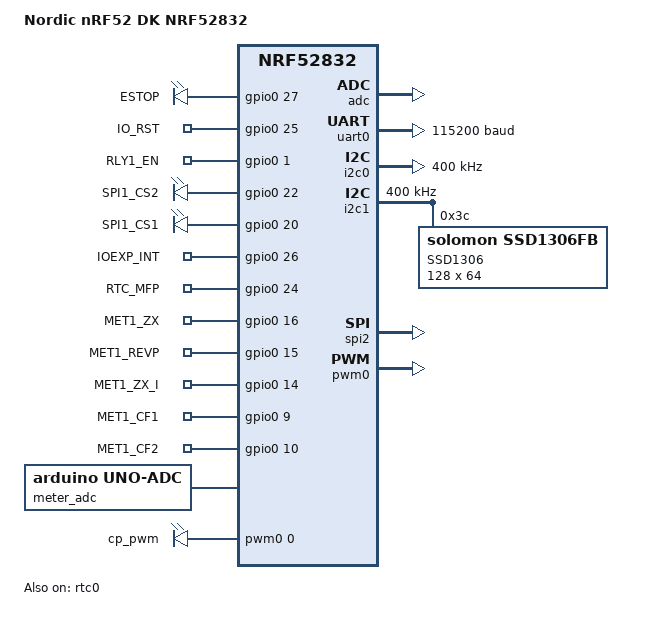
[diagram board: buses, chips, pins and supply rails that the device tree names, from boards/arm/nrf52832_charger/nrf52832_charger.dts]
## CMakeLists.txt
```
# SPDX-License-Identifier: Apache-2.0

cmake_minimum_required(VERSION 3.20.0)
# Re-direct the directory where the 'boards' directory is found from
# $ZEPHYR_BASE to this directory.
set(BOARD_ROOT ${CMAKE_CURRENT_LIST_DIR})

# This sample is only compatible with nrf52840dk_nrf52840 because it has
# re-directed the 'boards' directory to a directory that only contains
# this board.
set(BOARD nrf52832_charger)

find_package(Zephyr REQUIRED HINTS $ENV{ZEPHYR_BASE})
project(EVCharger)

FILE(GLOB app_sources src/*.c)
target_sources(app PRIVATE ${app_sources})
target_sources(app PRIVATE components/gpio_config/gpio_config.c)
target_sources(app PRIVATE components/adc_services/adc_service.c)
target_sources(app PRIVATE components/i2c_services/i2c_service.c)
target_sources(app PRIVATE components/ioExp_mcp23s17/ioExp_mcp23s17.c)
target_sources(app PRIVATE components/general/general.c)
target_sources(app PRIVATE components/oled_ssd1306/ssd1306.c)
target_sources(app PRIVATE components/oled_ssd1306/font5x7.c)
target_sources(app PRIVATE components/oled_ssd1306/font8x8.c)
target_sources(app PRIVATE components/oled_ssd1306/font10x16.c)
target_sources(app PRIVATE components/oled_ssd1306/font15x24.c)
target_sources(app PRIVATE components/oled_ssd1306/font20x32.c)
target_sources(app PRIVATE components/rc522/rc522.c)


target_sources(app PRIVATE components/app_db/app_db.c)
target_sources(app PRIVATE components/app_schedule/app_schedule.c)
target_sources(app PRIVATE components/app_timer/app_timer.c)
target_sources(app PRIVATE components/led_handler/led_handler.c)

target_sources(app PRIVATE components/app_UI/app_UI.c)
target_sources(app PRIVATE components/app_UI/json_parser.c)
target_sources(app PRIVATE components/rtc_mcp79400/external_rtc.c)
target_sources(app PRIVATE components/rtc_mcp79400/rtc_utility.c)
target_sources(app PRIVATE components/rtc_mcp79400/gw_rtc.c)
target_sources(app PRIVATE components/temp_reading/temp.c)

target_sources(app PRIVATE components/cp_pwm/cp_pwm.c)
target_sources(app PRIVATE components/cp_pwm/pwm_handler.c)
target_sources(app PRIVATE components/eeprom_m24m02/eeprom_m24m02.c)
target_sources(app PRIVATE components/volt_curr_monitor/volt_curr_monitor.c)


target_include_directories(app PRIVATE ./)
```

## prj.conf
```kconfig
# enable GPIO
CONFIG_GPIO=y

# enable I2C
CONFIG_I2C=y

# enable ADC
CONFIG_ADC=y
CONFIG_NRFX_SAADC=y
CONFIG_ADC_ASYNC=y
CONFIG_DMA=y
# enable PWM
CONFIG_PWM=y

#enable SPI
CONFIG_SPI=y

# enable uart driver
CONFIG_SERIAL=y

#for off the crystal in custom Board
CONFIG_CLOCK_CONTROL_NRF_K32SRC_RC=y

#for OLED
CONFIG_DISPLAY=y
# CONFIG_SSD1306=y //for SSD1306 Only
CONFIG_CFB_LOG_LEVEL_DBG=y
CONFIG_CHARACTER_FRAMEBUFFER=y

CONFIG_SSD1306_SH1106_COMPATIBLE=y

CONFIG_COUNTER=y
#CONFIG_NRFX_TIMER0=y
CONFIG_RTC=y
#CONFIG_COUNTER_NRF_RTC = y
#Reverse colors:
CONFIG_SSD1306_REVERSE_MODE=y

CONFIG_HEAP_MEM_POOL_SIZE=16384
CONFIG_ASSERT=y

#JSON
CONFIG_CJSON_LIB=y
CONFIG_NEWLIB_LIBC=y
CONFIG_NEWLIB_LIBC_FLOAT_PRINTF=y

#LOG
CONFIG_LOG=y
CONFIG_CBPRINTF_FP_A_SUPPORT=y
CONFIG_LOG_BACKEND_UART=y
CONFIG_LOG_BACKEND_RTT=n
CONFIG_LOG_PRINTK=y
CONFIG_LOG_BUFFER_SIZE=1024
CONFIG_LOG_BACKEND_FORMAT_TIMESTAMP=n

#Added for ram optimizztion
# CONFIG_MAIN_STACK_SIZE=640
# CONFIG_IDLE_STACK_SIZE=128
# CONFIG_ISR_STACK_SIZE=1024
#CONFIG_SDC_RX_STACK_SIZE=324
#CONFIG_BT_RX_STACK_SIZE=1024
#CONFIG_BT_HCI_TX_STACK_SIZE_WITH_PROMPT=y
#CONFIG_BT_HCI_TX_STACK_SIZE=640
#CONFIG_SYSTEM_WORKQUEUE_STACK_SIZE=256
#CONFIG_MPSL_SIGNAL_STACK_SIZE=256
#CONFIG_BT_NUS_THREAD_STACK_SIZE=512

#Added for RAM optimizztion test
#delete this once final
CONFIG_THREAD_NAME=y
CONFIG_THREAD_ANALYZER=y
CONFIG_THREAD_ANALYZER_AUTO=y
CONFIG_THREAD_ANALYZER_RUN_UNLOCKED=y
CONFIG_THREAD_ANALYZER_USE_PRINTK=y
```

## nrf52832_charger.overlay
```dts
// To get started, press Ctrl+Space to bring up the completion menu and view the available nodes.

// You can also use the buttons in the sidebar to perform actions on nodes.
// Actions currently available include:

// * Enabling / disabling the node
// * Adding the bus to a bus
// * Removing the node
// * Connecting ADC channels

// For more help, browse the DeviceTree documentation at https://docs.zephyrproject.org/latest/guides/dts/index.html
// You can also visit the nRF DeviceTree extension documentation at https://nrfconnect.github.io/vscode-nrf-connect/devicetree/nrfdevicetree.html
 
/ {
	io_rst: io_rst {
		compatible = "output";
                /* using built-in LED pin for demonstration */
		gpios = <&gpio0 25 GPIO_ACTIVE_HIGH>;
	};
	rly1_en: rly1_en {
		compatible = "output";
                /* using built-in LED pin for demonstration */
		gpios = <&gpio0 1 GPIO_ACTIVE_HIGH>;
	};
	spi1_cs1: spi1_cs1 {
		compatible = "output";
                /* using built-in LED pin for demonstration */
		gpios = <&gpio0 20 GPIO_ACTIVE_HIGH>;
	};
	spi1_cs2: spi1_cs2 {
		compatible = "output";
                /* using built-in LED pin for demonstration */
		gpios = <&gpio0 22 GPIO_ACTIVE_HIGH>;
	};

	estop: estop {
		compatible = "output";
                /* using built-in LED pin for demonstration */
		gpios = <&gpio0 27 GPIO_PUSH_PULL>;
	};
};
```

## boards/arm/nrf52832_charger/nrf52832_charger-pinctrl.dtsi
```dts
/*
 * Copyright (c) 2022 Nordic Semiconductor
 * SPDX-License-Identifier: Apache-2.0
 */

 &pinctrl {
	uart0_default: uart0_default {
		group1 {
			psels = <NRF_PSEL(UART_TX, 0, 13)>,
					<NRF_PSEL(UART_RX, 0, 12)>;
		};
	};

	uart0_sleep: uart0_sleep {
		group1 {
			psels = <NRF_PSEL(UART_TX, 0, 13)>,
					<NRF_PSEL(UART_RX, 0, 12)>;
		};
	};

	i2c0_default: i2c0_default {
		group1 {
			psels = <NRF_PSEL(TWIM_SDA, 0, 6)>,
				<NRF_PSEL(TWIM_SCL, 0, 7)>;
		};
	};

	i2c0_sleep: i2c0_sleep {
		group1 {
			psels = <NRF_PSEL(TWIM_SDA, 0, 6)>,
				<NRF_PSEL(TWIM_SCL, 0, 7)>;
		};
	};

	i2c1_default: i2c1_default {
		group1 {
			psels = <NRF_PSEL(TWIM_SDA, 0, 4)>,
				<NRF_PSEL(TWIM_SCL, 0, 5)>;
		};
	};

	i2c1_sleep: i2c1_sleep {
		group1 {
			psels = <NRF_PSEL(TWIM_SDA, 0, 4)>,
				<NRF_PSEL(TWIM_SCL, 0, 5)>;
		};
	};

	pwm0_default: pwm0_default {
		group1 {
			psels = <NRF_PSEL(PWM_OUT0, 0, 11)>;
			nordic,invert;
		};
	};

	pwm0_sleep: pwm0_sleep {
		group1 {
			psels = <NRF_PSEL(PWM_OUT0, 0, 11)>;
		};
	};
/* 
	spi0_default: spi0_default {
		group1 {
			psels = <NRF_PSEL(SPIM_SCK, 0, 17)>,
				<NRF_PSEL(SPIM_MOSI, 0, 19)>,
				<NRF_PSEL(SPIM_MISO, 0, 18)>;
		};
	};

	spi0_sleep: spi0_sleep {
		group1 {
			psels = <NRF_PSEL(SPIM_SCK, 0, 17)>,
				<NRF_PSEL(SPIM_MOSI, 0, 19)>,
				<NRF_PSEL(SPIM_MISO, 0, 18)>;
		};
	};

	spi1_default: spi1_default {
		group1 {
			psels = <NRF_PSEL(SPIM_SCK, 0, 17)>,
				<NRF_PSEL(SPIM_MOSI, 0, 19)>,
				<NRF_PSEL(SPIM_MISO, 0, 18)>;
		};
	};

	spi1_sleep: spi1_sleep {
		group1 {
			psels = <NRF_PSEL(SPIM_SCK, 0, 17)>,
				<NRF_PSEL(SPIM_MOSI, 0, 19)>,
				<NRF_PSEL(SPIM_MISO, 0, 18)>;
		};
	};
 */

	spi2_default: spi2_default {
		group1 {
			psels = <NRF_PSEL(SPIM_SCK, 0, 17)>,
				<NRF_PSEL(SPIM_MOSI, 0, 19)>,
				<NRF_PSEL(SPIM_MISO, 0, 18)>;
		};
	};

	spi2_sleep: spi2_sleep {
		group1 {
			psels = <NRF_PSEL(SPIM_SCK, 0, 17)>,
				<NRF_PSEL(SPIM_MOSI, 0, 19)>,
				<NRF_PSEL(SPIM_MISO, 0, 18)>;
		};
	};

};
```

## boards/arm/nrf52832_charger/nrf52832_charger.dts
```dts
/*
 * Copyright (c) 2017 Shawn Nock <shawn@monadnock.ca>
 * Copyright (c) 2017 Linaro Limited
 *
 * SPDX-License-Identifier: Apache-2.0
 */

 /dts-v1/;
 #include <nordic/nrf52832_qfaa.dtsi>
 #include "nrf52832_charger-pinctrl.dtsi"
 
 / {
	 model = "Nordic nRF52 DK NRF52832";
	 compatible = "nordic,nrf52-dk-nrf52832";
 
	 chosen {
		 zephyr,console = &uart0;
		 zephyr,shell-uart = &uart0;
		 zephyr,uart-mcumgr = &uart0;
		 zephyr,bt-mon-uart = &uart0;
		 zephyr,bt-c2h-uart = &uart0;
		 zephyr,sram = &sram0;
		 zephyr,flash = &flash0;
		 zephyr,code-partition = &slot0_partition;
	 };

	 
gpio_outputs {
	compatible = "gpio-leds";
	ESTOP: op_ESTOP {
		gpios = <&gpio0 27 GPIO_ACTIVE_HIGH>;
		label = "ESTOP";
	};
	IO_RST: op_IO_RST {
		gpios = <&gpio0 25 GPIO_ACTIVE_HIGH>;
		label = "IO_RST";
	};
	RLY1_EN: op_RLY1_EN {
		gpios = <&gpio0 1 GPIO_ACTIVE_HIGH>;
		label = "RLY1_EN";
	};
	SPI1_CS2: op_SPI1_CS2 {
		gpios = <&gpio0 22 GPIO_ACTIVE_HIGH>;
		label = "SPI1_CS2";
	};
	SPI1_CS1: op_SPI1_CS1 {
		gpios = <&gpio0 20 GPIO_ACTIVE_HIGH>;
		label = "SPI1_CS1";
	};
};
	
gpio_inputs {
	compatible = "gpio-keys";//need to change this
	IOEXP_INT: ip_IOEXP_INT {
		gpios = <&gpio0 26 0>;
		label = "IOEXP_INT";
	};
	RTC_MFP: ip_RTC_MFP {
		gpios = <&gpio0 24 0>;
		label = "RTC_MFP";
	};
	MET1_ZX: ip_MET1_ZX {
		gpios = <&gpio0 16 0>;
		label = "MET1_ZX";
	};
	MET1_REVP: ip_MET1_REVP {
		gpios = <&gpio0 15 0>;
		label = "MET1_REVP";
	};
	MET1_ZX_I: ip_MET1_ZX_I {
		gpios = <&gpio0 14 0>;
		label = "MET1_ZX_I";
	};

	MET1_CF1: ip_MET1_CF1 {
		gpios = <&gpio0 9 0>;
		label = "MET1_CF1";
	};

	MET1_CF2: ip_MET1_CF2 {
		gpios = <&gpio0 10 0>;
		label = "MET1_CF2";
	};
	};


	meter_adc: analog-connector {
		compatible = "arduino,uno-adc";
		#io-channel-cells = <1>;
		io-channel-map =
				 <1 &adc 0>,	/* A0 = P0.02 = AIN0 */
				 <2 &adc 1>,	/* A2 = P0.03 = AIN1 */
				 <3 &adc 4>,	/* A2 = P0.28 = AIN4 */
				 <4 &adc 5>,	/* A3 = P0.29 = AIN5 */
				 <5 &adc 6>,	/* A4 = P0.30 = AIN6 */
				 <6 &adc 7>;	/* A5 = P0.31 = AIN7 */
	};

	
pwmleds {
	compatible = "pwm-leds";
	cp_pwm: pwm_led_0 {
		pwms = <&pwm0 0 PWM_MSEC(20) PWM_POLARITY_NORMAL>;
	};
};

/* These aliases are provided for compatibility with samples */
aliases {
	cp-pwm = &cp_pwm;
};
 };
 
 &adc {
	 status = "okay";
 };
 
 &gpiote {
	 status = "okay";
 };
 
 &gpio0 {
	 status = "okay";
 };
 
 &uart0 {
	compatible = "nordic,nrf-uart";
	current-speed = <115200>;
	status = "okay";
	pinctrl-0 = <&uart0_default>;
	pinctrl-1 = <&uart0_sleep>;
	pinctrl-names = "default", "sleep";
};

common_i2c: &i2c0 {
	compatible = "nordic,nrf-twi";
	status = "okay";
	pinctrl-0 = <&i2c0_default>;
	pinctrl-1 = <&i2c0_sleep>;
	pinctrl-names = "default", "sleep";
	clock-frequency = <I2C_BITRATE_FAST>;

};

display_i2c: &i2c1 {
	compatible = "nordic,nrf-twi";
	status = "okay";
	pinctrl-0 = <&i2c1_default>;
	pinctrl-1 = <&i2c1_sleep>;
	pinctrl-names = "default", "sleep";
	clock-frequency = <I2C_BITRATE_FAST>;

	ssd1306@3c {
        compatible = "solomon,ssd1306fb";
        reg = <0x3c>;
        label = "SSD1306";
        width = <128>;
        height = <64>;
        segment-offset = <0>;
        page-offset = <0>;
        display-offset = <0x02>;
        multiplex-ratio = <63>;
        segment-remap;
        com-invdir;
        prechargep = <0x22>;
    };

};

meter_spi:&spi2 {
	compatible = "nordic,nrf-spi";
	status = "okay";
	pinctrl-0 = <&spi2_default>;
	pinctrl-1 = <&spi2_sleep>;
	pinctrl-names = "default", "sleep";
};

&pwm0 {
	status = "okay";
	pinctrl-0 = <&pwm0_default>;
	pinctrl-1 = <&pwm0_sleep>;
	pinctrl-names = "default", "sleep";
};

&rtc0 {
	status = "okay";
};
 &flash0 {
 
	 partitions {
		 compatible = "fixed-partitions";
		 #address-cells = <1>;
		 #size-cells = <1>;
 
		 boot_partition: partition@0 {
			 label = "mcuboot";
			 reg = <0x00000000 0xc000>;
		 };
		 slot0_partition: partition@c000 {
			 label = "image-0";
			 reg = <0x0000C000 0x37000>;
		 };
		 slot1_partition: partition@43000 {
			 label = "image-1";
			 reg = <0x00043000 0x37000>;
		 };
		 storage_partition: partition@7a000 {
			 label = "storage";
			 reg = <0x0007a000 0x00006000>;
		 };
	 };
 };
 
```

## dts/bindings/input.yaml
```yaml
# Copyright (c) 2018, Linaro Limited
# SPDX-License-Identifier: Apache-2.0

description: GPIO input parent node

compatible: "input"

include: base.yaml

properties:
  #debounce-interval-ms:
   # type: int
    #default: 30
   gpios:
    type: phandle-array
    required: true
    description: |
       Debouncing interval time in milliseconds.
       If not specified defaults to 30.

child-binding:
  description: GPIO KEYS child node
  properties:
    gpios:
      type: phandle-array
      required: true
   # label:
    #  type: string
     # description: Descriptive name of the key
    #zephyr,code:
     # type: int
      #default: 0
      #description: Key code to emit.
```

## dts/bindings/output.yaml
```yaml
# Copyright (c) 2023 Libre Solar Technologies GmbH
# SPDX-License-Identifier: Apache-2.0

description: GPIO pin to output on or off

compatible: "output"

properties:
  gpios:
    type: phandle-array
    required: true
    description: |
      The GPIO connected to the gate driver for the MOSFET.
```

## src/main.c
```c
/*
 * Copyright (c) 2012-2014 Wind River Systems, Inc.
 *
 * SPDX-License-Identifier: Apache-2.0
 */

#include <zephyr/devicetree.h>
#include <zephyr/kernel.h>
#include "components/gpio_config/gpio_config.h"
#include "components/adc_services/adc_service.h"
#include "components/i2c_services/i2c_service.h"
#include "components/ioExp_mcp23s17/ioExp_mcp23s17.h"
#include "components/oled_ssd1306/ssd1306.h"
#include "components/app_schedule/app_schedule.h"
#include "components/meter_ade7593/ade7593.h"
#include "components/app_UI/app_ui.h"
#include "components/led_handler/led_handler.h"
#include "components/app_timer/app_timer.h"
#include "components/gpio_config/gpio_config.h"
#include "zephyr/drivers/pwm.h"
#include "components/rtc_mcp79400/external_rtc.h"
#include "components/volt_curr_monitor/volt_curr_monitor.h"
#include "components/eeprom_m24m02/eeprom_m24m02.h"
#include "components/temp_reading/temp.h"

#define SLEEP_TIME_MS 1
#define METERCALIBRATION 1U
void vBoardInit(void);
void vSystemInit(void);
void vApplicationInit(void);
int main(void)
{
    printk("Hello World! \n");
    vBoardInit();
    vSystemInit();
    vApplicationInit();
}
void vBoardInit(void)
{
    /*GPIO initialization*/
    GPIO_vinit();
    /*I2C1 initialization*/
    I2C_init(I2C1);
    /*I2C2 initialization*/
    I2C_init(I2C2);
    /*ADC initialization*/
    ADC_init();
    /*SPI initialization*/
    spi_init();
}
void vApplicationInit(void)
{
    /*initialize CP_pwm_task */
#if METERCALIBRATION
    cppwm_TaskInit();
    /*initialize Meter task*/
    meter_TaskInit();
    /*initialize LED handler */
    LEDHANDLER_TaskInit();
    /*initialize UI task handler */
    app_UITaskInit();
    /* initialize tick Timer*/
    appTickTimer_Init();
    /*initialize Schedule handler */
    ScheduleTask_Init();
#endif
    k_msleep(SLEEP_TIME_MS * 100);
    /*Calibration for line ADC voltage*/
    VOLTAGE_caladcLineGain(230);
    printk("##########################\r\n");

    // VOLTAGE_processADCData();
}
void vSystemInit(void)
{
    /* IOXP RESET*/
    MCP23017_RstIOExpander();
    /*Init IOXP */
    MCP23017_ioExpInit();
    k_msleep(SLEEP_TIME_MS * 2);
    /* OLED Initialization*/
    //
    // ssd1306_oled_print();

    /* Meter IC Initialization*/
    MCP23017_IOExpGpioLevelSet(GPB6_MET_RESET, HIGH);
    k_msleep(SLEEP_TIME_MS * 2);
    ADE7953_initialize();

    ssd1306_oled_init();
    oledstartupdisplayprint();
    k_msleep(2000);
    //set_relay_output(1);
    //k_msleep(2000);
    //IRMSGainCalibration(1);

    // set_relay_output(1);
    // k_msleep(5000);
    // POWERGainCalibration(1);
    // VRMSOffsetCalibration(1);printk("\n");
    // IRMSOffsetCalibration(1);printk("\n");
    // POWEROffsetCalibration(1);printk("\n");
    // IRPOWEROffsetCalibration(1);printk("\n");

    // MCP23017_IOExpGpioLevelSet(GPB1_GREEN, HIGH);
    // MCP23017_IOExpGpioLevelSet(GPB0_RED, HIGH);
    // MCP23017_IOExpGpioLevelSet(GPB2_BLUE, HIGH);

    // while (1)
    // {
    //     uint8_t pushbutton1;
    //     uint8_t pushbutton2;
    //     uint8_t earth_fault;
    //     uint8_t ground_fault;

    //     pushbutton1 = MCP23017_IOExpGpioLevelGet(GPA6_PB1);
    //     printk("GPIO PIN GPA6_PB1 %d\n", pushbutton1);

    //     pushbutton2 = MCP23017_IOExpGpioLevelGet(GPA7_PB2);
    //     printk("GPIO PIN GPA7_PB2 %d\n", pushbutton2);

    //     earth_fault = MCP23017_IOExpGpioLevelGet(GPB7_EL);
    //     printk("GPIO PIN GPB7_EL %d\n", earth_fault);

    //     ground_fault = MCP23017_IOExpGpioLevelGet(GPB4_GND_FLT);
    //     printk("GPIO PIN GPB4_GND_FLT %d\n", ground_fault);

    //     k_msleep(1000);
    // }

/* Read system time from RTC*/
#if 0
    mcp794x_data_t param_data = {0};
    param_data.year = 2023;
    param_data.month = 9;
    param_data.day = 10;
    param_data.hours = 14;
    param_data.minutes = 23;
    param_data.seconds = 20;
    mcp794x_set_datetime(param_data);
#endif

    //GetDateAndTimeFromExtRTC();

    /*initialize EEPROM Chip*/
    // M24M02_SelfTest();
    /*initialize RFID*/

    /*initialize Crypto Chip*/

    /*Init OLED*/

   // oledstartupdisplayprint();
}

#if 0
    /*RFID CS Pin HIGH*/
    GPIO_OnOff(OP_SPI1_CS2, HIGH);
    GPIO_OnOff(OP_SPI1_CS1, HIGH);
#endif
```
